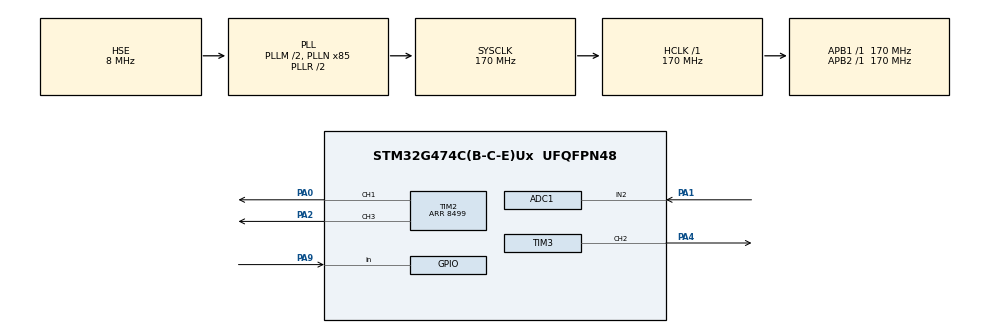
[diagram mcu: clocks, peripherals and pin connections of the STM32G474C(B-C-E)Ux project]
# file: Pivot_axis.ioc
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ADC1.Channel-0\#ChannelRegularConversion=ADC_CHANNEL_2
ADC1.ContinuousConvMode=ENABLE
ADC1.NbrOfConversionFlag=1
ADC1.OffsetNumber-0\#ChannelRegularConversion=ADC_OFFSET_NONE
ADC1.Rank-0\#ChannelRegularConversion=1
ADC1.SamplingTime-0\#ChannelRegularConversion=ADC_SAMPLETIME_640CYCLES_5
ADC1.master=1
Mcu.Family=STM32G4
Mcu.Name=STM32G474C(B-C-E)Ux
Mcu.Package=UFQFPN48
NVIC.ADC1_2_IRQn=true\:0\:0\:false\:false\:true\:true\:true\:true
NVIC.PriorityGroup=NVIC_PRIORITYGROUP_4
PA0.GPIO_PuPd=GPIO_PULLDOWN
PA0.Signal=S_TIM2_CH1
PA1.Mode=IN2-Single-Ended
PA1.Signal=ADC1_IN2
PA13.Mode=Serial_Wire
PA13.Signal=SYS_JTMS-SWDIO
PA14.Mode=Serial_Wire
PA14.Signal=SYS_JTCK-SWCLK
PA2.GPIO_PuPd=GPIO_PULLDOWN
PA2.Signal=S_TIM2_CH3
PA4.Signal=S_TIM3_CH2
PA9.GPIO_PuPd=GPIO_PULLUP
PA9.Signal=GPIO_Input
PF0-OSC_IN.Mode=HSE-External-Oscillator
PF0-OSC_IN.Signal=RCC_OSC_IN
PF1-OSC_OUT.Mode=HSE-External-Oscillator
PF1-OSC_OUT.Signal=RCC_OSC_OUT
ProjectManager.HeapSize=0x200
ProjectManager.StackSize=0x400
ProjectManager.TargetToolchain=STM32CubeIDE
RCC.ADC12Freq_Value=170000000
RCC.ADC345Freq_Value=170000000
RCC.AHBFreq_Value=170000000
RCC.APB1Freq_Value=170000000
RCC.APB1TimFreq_Value=170000000
RCC.APB2Freq_Value=170000000
RCC.APB2TimFreq_Value=170000000
RCC.CortexFreq_Value=170000000
RCC.EXTERNAL_CLOCK_VALUE=12288000
RCC.HCLKFreq_Value=170000000
RCC.HSE_VALUE=8000000
RCC.HSI48_VALUE=48000000
RCC.HSI_VALUE=16000000
RCC.LSE_VALUE=32768
RCC.PLLM=RCC_PLLM_DIV2
RCC.PLLN=85
RCC.PLLSourceVirtual=RCC_PLLSOURCE_HSE
RCC.SYSCLKFreq_VALUE=170000000
RCC.SYSCLKSource=RCC_SYSCLKSOURCE_PLLCLK
RCC.USBFreq_Value=170000000
RCC.VCOOutputFreq_Value=340000000
SH.S_TIM2_CH1.0=TIM2_CH1,PWM Generation1 CH1
SH.S_TIM2_CH3.0=TIM2_CH3,PWM Generation3 CH3
SH.S_TIM3_CH2.0=TIM3_CH2,PWM Generation2 CH2
TIM2.Channel-PWM\ Generation1\ CH1=TIM_CHANNEL_1
TIM2.Channel-PWM\ Generation3\ CH3=TIM_CHANNEL_3
TIM2.PeriodNoDither=8499
TIM3.Channel-PWM\ Generation2\ CH2=TIM_CHANNEL_2
TIM3.PeriodNoDither=8499
VP_SYS_VS_DBSignals.Mode=DisableDeadBatterySignals
VP_TIM2_VS_ClockSourceINT.Mode=Internal
board=custom

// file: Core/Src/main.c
/* USER CODE BEGIN Header */
/**
  ******************************************************************************
  * @file           : main.c
  * @brief          : Main program body
  ******************************************************************************
  * @attention
  *
  * Copyright (c) 2026 STMicroelectronics.
  * All rights reserved.
  *
  * This software is licensed under terms that can be found in the LICENSE file
  * in the root directory of this software component.
  * If no LICENSE file comes with this software, it is provided AS-IS.
  *
  ******************************************************************************
  */
/* USER CODE END Header */
#include "main.h"

ADC_HandleTypeDef hadc1;

TIM_HandleTypeDef htim2;
TIM_HandleTypeDef htim3;

void SystemClock_Config(void);
static void MX_GPIO_Init(void);
static void MX_TIM2_Init(void);
static void MX_ADC1_Init(void);
static void MX_TIM3_Init(void);

/* USER CODE BEGIN 0 */
uint16_t adc1_in2;
volatile uint16_t counter;
void HAL_ADC_ConvCpltCallback(ADC_HandleTypeDef* hadc){
	if(hadc->Instance == ADC1){
		adc1_in2 = HAL_ADC_GetValue(&hadc1);
	}
}
/* USER CODE END 0 */

int main(void)
{

  /* MCU Configuration--------------------------------------------------------*/

  /* Reset of all peripherals, Initializes the Flash interface and the Systick. */
  HAL_Init();

  /* Configure the system clock */
  SystemClock_Config();

  /* Initialize all configured peripherals */
  MX_GPIO_Init();
  MX_TIM2_Init();
  MX_ADC1_Init();
  MX_TIM3_Init();
  /* USER CODE BEGIN 2 */
  HAL_TIM_PWM_Start(&htim2, TIM_CHANNEL_1);
  HAL_TIM_PWM_Start(&htim2, TIM_CHANNEL_3);
  HAL_TIM_PWM_Start(&htim3, TIM_CHANNEL_2);
  HAL_ADCEx_Calibration_Start(&hadc1, ADC_SINGLE_ENDED);
  HAL_ADC_Start_IT(&hadc1);
  /* USER CODE END 2 */

  /* Infinite loop */
  /* USER CODE BEGIN WHILE */
  while (1)
  {
	  counter = 5300 + adc1_in2 * 3399 / 0xFFF;
	  if(counter < 5350){
		  TIM3->CCR2 = 0;
		  TIM2->CCR1 = 0;
		  TIM2->CCR3 = 0;
		  continue;
  }
      TIM3->CCR2 = adc1_in2 * 8499 / 0xFFF;

	  if(HAL_GPIO_ReadPin(GPIOA, GPIO_PIN_9) == GPIO_PIN_SET)
	  {
	      TIM2->CCR1 = counter;
	      TIM2->CCR3 = 0;
	  }
	  else if(HAL_GPIO_ReadPin(GPIOA, GPIO_PIN_9) == GPIO_PIN_RESET)
	  {
		  TIM2->CCR3 = counter;
	      TIM2->CCR1 = 0;
	  }
    /* USER CODE END WHILE */

  }
}

void SystemClock_Config(void)
{
  RCC_OscInitTypeDef RCC_OscInitStruct = {0};
  RCC_ClkInitTypeDef RCC_ClkInitStruct = {0};

  /** Configure the main internal regulator output voltage
  */
  HAL_PWREx_ControlVoltageScaling(PWR_REGULATOR_VOLTAGE_SCALE1_BOOST);

  /** Initializes the RCC Oscillators according to the specified parameters
  * in the RCC_OscInitTypeDef structure.
  */
  RCC_OscInitStruct.OscillatorType = RCC_OSCILLATORTYPE_HSE;
  RCC_OscInitStruct.HSEState = RCC_HSE_ON;
  RCC_OscInitStruct.PLL.PLLState = RCC_PLL_ON;
  RCC_OscInitStruct.PLL.PLLSource = RCC_PLLSOURCE_HSE;
  RCC_OscInitStruct.PLL.PLLM = RCC_PLLM_DIV2;
  RCC_OscInitStruct.PLL.PLLN = 85;
  RCC_OscInitStruct.PLL.PLLP = RCC_PLLP_DIV2;
  RCC_OscInitStruct.PLL.PLLQ = RCC_PLLQ_DIV2;
  RCC_OscInitStruct.PLL.PLLR = RCC_PLLR_DIV2;
  if (HAL_RCC_OscConfig(&RCC_OscInitStruct) != HAL_OK)
  {
    Error_Handler();
  }

  /** Initializes the CPU, AHB and APB buses clocks
  */
  RCC_ClkInitStruct.ClockType = RCC_CLOCKTYPE_HCLK|RCC_CLOCKTYPE_SYSCLK
                              |RCC_CLOCKTYPE_PCLK1|RCC_CLOCKTYPE_PCLK2;
  RCC_ClkInitStruct.SYSCLKSource = RCC_SYSCLKSOURCE_PLLCLK;
  RCC_ClkInitStruct.AHBCLKDivider = RCC_SYSCLK_DIV1;
  RCC_ClkInitStruct.APB1CLKDivider = RCC_HCLK_DIV1;
  RCC_ClkInitStruct.APB2CLKDivider = RCC_HCLK_DIV1;

  if (HAL_RCC_ClockConfig(&RCC_ClkInitStruct, FLASH_LATENCY_4) != HAL_OK)
  {
    Error_Handler();
  }
}

static void MX_ADC1_Init(void)
{

  ADC_MultiModeTypeDef multimode = {0};
  ADC_ChannelConfTypeDef sConfig = {0};

  /** Common config
  */
  hadc1.Instance = ADC1;
  hadc1.Init.ClockPrescaler = ADC_CLOCK_SYNC_PCLK_DIV4;
  hadc1.Init.Resolution = ADC_RESOLUTION_12B;
  hadc1.Init.DataAlign = ADC_DATAALIGN_RIGHT;
  hadc1.Init.GainCompensation = 0;
  hadc1.Init.ScanConvMode = ADC_SCAN_DISABLE;
  hadc1.Init.EOCSelection = ADC_EOC_SINGLE_CONV;
  hadc1.Init.LowPowerAutoWait = DISABLE;
  hadc1.Init.ContinuousConvMode = ENABLE;
  hadc1.Init.NbrOfConversion = 1;
  hadc1.Init.DiscontinuousConvMode = DISABLE;
  hadc1.Init.ExternalTrigConv = ADC_SOFTWARE_START;
  hadc1.Init.ExternalTrigConvEdge = ADC_EXTERNALTRIGCONVEDGE_NONE;
  hadc1.Init.DMAContinuousRequests = DISABLE;
  hadc1.Init.Overrun = ADC_OVR_DATA_PRESERVED;
  hadc1.Init.OversamplingMode = DISABLE;
  if (HAL_ADC_Init(&hadc1) != HAL_OK)
  {
    Error_Handler();
  }

  /** Configure the ADC multi-mode
  */
  multimode.Mode = ADC_MODE_INDEPENDENT;
  if (HAL_ADCEx_MultiModeConfigChannel(&hadc1, &multimode) != HAL_OK)
  {
    Error_Handler();
  }

  /** Configure Regular Channel
  */
  sConfig.Channel = ADC_CHANNEL_2;
  sConfig.Rank = ADC_REGULAR_RANK_1;
  sConfig.SamplingTime = ADC_SAMPLETIME_640CYCLES_5;
  sConfig.SingleDiff = ADC_SINGLE_ENDED;
  sConfig.OffsetNumber = ADC_OFFSET_NONE;
  sConfig.Offset = 0;
  if (HAL_ADC_ConfigChannel(&hadc1, &sConfig) != HAL_OK)
  {
    Error_Handler();
  }

}

static void MX_TIM2_Init(void)
{

  TIM_ClockConfigTypeDef sClockSourceConfig = {0};
  TIM_MasterConfigTypeDef sMasterConfig = {0};
  TIM_OC_InitTypeDef sConfigOC = {0};

  htim2.Instance = TIM2;
  htim2.Init.Prescaler = 0;
  htim2.Init.CounterMode = TIM_COUNTERMODE_UP;
  htim2.Init.Period = 8499;
  htim2.Init.ClockDivision = TIM_CLOCKDIVISION_DIV1;
  htim2.Init.AutoReloadPreload = TIM_AUTORELOAD_PRELOAD_DISABLE;
  if (HAL_TIM_Base_Init(&htim2) != HAL_OK)
  {
    Error_Handler();
  }
  sClockSourceConfig.ClockSource = TIM_CLOCKSOURCE_INTERNAL;
  if (HAL_TIM_ConfigClockSource(&htim2, &sClockSourceConfig) != HAL_OK)
  {
    Error_Handler();
  }
  if (HAL_TIM_PWM_Init(&htim2) != HAL_OK)
  {
    Error_Handler();
  }
  sMasterConfig.MasterOutputTrigger = TIM_TRGO_RESET;
  sMasterConfig.MasterSlaveMode = TIM_MASTERSLAVEMODE_DISABLE;
  if (HAL_TIMEx_MasterConfigSynchronization(&htim2, &sMasterConfig) != HAL_OK)
  {
    Error_Handler();
  }
  sConfigOC.OCMode = TIM_OCMODE_PWM1;
  sConfigOC.Pulse = 0;
  sConfigOC.OCPolarity = TIM_OCPOLARITY_HIGH;
  sConfigOC.OCFastMode = TIM_OCFAST_DISABLE;
  if (HAL_TIM_PWM_ConfigChannel(&htim2, &sConfigOC, TIM_CHANNEL_1) != HAL_OK)
  {
    Error_Handler();
  }
  if (HAL_TIM_PWM_ConfigChannel(&htim2, &sConfigOC, TIM_CHANNEL_3) != HAL_OK)
  {
    Error_Handler();
  }
  HAL_TIM_MspPostInit(&htim2);

}

static void MX_TIM3_Init(void)
{

  TIM_MasterConfigTypeDef sMasterConfig = {0};
  TIM_OC_InitTypeDef sConfigOC = {0};

  htim3.Instance = TIM3;
  htim3.Init.Prescaler = 0;
  htim3.Init.CounterMode = TIM_COUNTERMODE_UP;
  htim3.Init.Period = 8499;
  htim3.Init.ClockDivision = TIM_CLOCKDIVISION_DIV1;
  htim3.Init.AutoReloadPreload = TIM_AUTORELOAD_PRELOAD_DISABLE;
  if (HAL_TIM_PWM_Init(&htim3) != HAL_OK)
  {
    Error_Handler();
  }
  sMasterConfig.MasterOutputTrigger = TIM_TRGO_RESET;
  sMasterConfig.MasterSlaveMode = TIM_MASTERSLAVEMODE_DISABLE;
  if (HAL_TIMEx_MasterConfigSynchronization(&htim3, &sMasterConfig) != HAL_OK)
  {
    Error_Handler();
  }
  sConfigOC.OCMode = TIM_OCMODE_PWM1;
  sConfigOC.Pulse = 0;
  sConfigOC.OCPolarity = TIM_OCPOLARITY_HIGH;
  sConfigOC.OCFastMode = TIM_OCFAST_DISABLE;
  if (HAL_TIM_PWM_ConfigChannel(&htim3, &sConfigOC, TIM_CHANNEL_2) != HAL_OK)
  {
    Error_Handler();
  }
  HAL_TIM_MspPostInit(&htim3);

}

static void MX_GPIO_Init(void)
{
  GPIO_InitTypeDef GPIO_InitStruct = {0};

  /* GPIO Ports Clock Enable */
  __HAL_RCC_GPIOF_CLK_ENABLE();
  __HAL_RCC_GPIOA_CLK_ENABLE();

  /*Configure GPIO pin : PA9 */
  GPIO_InitStruct.Pin = GPIO_PIN_9;
  GPIO_InitStruct.Mode = GPIO_MODE_INPUT;
  GPIO_InitStruct.Pull = GPIO_PULLUP;
  HAL_GPIO_Init(GPIOA, &GPIO_InitStruct);

}

void Error_Handler(void)
{
  __disable_irq();
  while (1)
  {
  }
}
